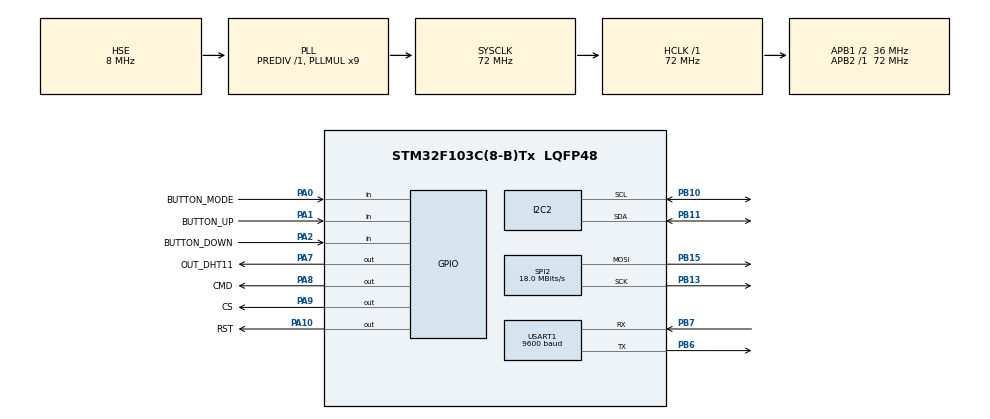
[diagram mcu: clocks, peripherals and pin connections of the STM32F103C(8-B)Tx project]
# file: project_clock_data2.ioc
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Mcu.Family=STM32F1
Mcu.Name=STM32F103C(8-B)Tx
Mcu.Package=LQFP48
NVIC.PriorityGroup=NVIC_PRIORITYGROUP_4
NVIC.USART1_IRQn=true\:0\:0\:false\:false\:true\:true\:true\:true
PA0-WKUP.GPIO_Label=BUTTON_MODE
PA0-WKUP.GPIO_PuPd=GPIO_PULLUP
PA0-WKUP.Signal=GPIO_Input
PA1.GPIO_Label=BUTTON_UP
PA1.GPIO_PuPd=GPIO_PULLUP
PA1.Signal=GPIO_Input
PA10.GPIO_Label=RST
PA10.Signal=GPIO_Output
PA13.Mode=Serial_Wire
PA13.Signal=SYS_JTMS-SWDIO
PA14.Mode=Serial_Wire
PA14.Signal=SYS_JTCK-SWCLK
PA2.GPIO_Label=BUTTON_DOWN
PA2.GPIO_PuPd=GPIO_PULLUP
PA2.Signal=GPIO_Input
PA7.GPIO_Label=OUT_DHT11
PA7.Signal=GPIO_Output
PA8.GPIO_Label=CMD
PA8.Signal=GPIO_Output
PA9.GPIO_Label=CS
PA9.Signal=GPIO_Output
PB10.Mode=I2C
PB10.Signal=I2C2_SCL
PB11.Mode=I2C
PB11.Signal=I2C2_SDA
PB13.Mode=TX_Only_Simplex_Unidirect_Master
PB13.Signal=SPI2_SCK
PB15.Mode=TX_Only_Simplex_Unidirect_Master
PB15.Signal=SPI2_MOSI
PB6.Mode=Asynchronous
PB6.Signal=USART1_TX
PB7.Mode=Asynchronous
PB7.Signal=USART1_RX
PD0-OSC_IN.Mode=HSE-External-Oscillator
PD0-OSC_IN.Signal=RCC_OSC_IN
PD1-OSC_OUT.Mode=HSE-External-Oscillator
PD1-OSC_OUT.Signal=RCC_OSC_OUT
ProjectManager.HeapSize=0x200
ProjectManager.StackSize=0x400
ProjectManager.TargetToolchain=STM32CubeIDE
RCC.AHBFreq_Value=72000000
RCC.APB1CLKDivider=RCC_HCLK_DIV2
RCC.APB1Freq_Value=36000000
RCC.APB1TimFreq_Value=72000000
RCC.APB2Freq_Value=72000000
RCC.APB2TimFreq_Value=72000000
RCC.HCLKFreq_Value=72000000
RCC.PLLMUL=RCC_PLL_MUL9
RCC.PLLSourceVirtual=RCC_PLLSOURCE_HSE
RCC.SYSCLKFreq_VALUE=72000000
RCC.SYSCLKSource=RCC_SYSCLKSOURCE_PLLCLK
RCC.USBFreq_Value=72000000
SPI2.CalculateBaudRate=18.0 MBits/s
SPI2.Direction=SPI_DIRECTION_2LINES
SPI2.Mode=SPI_MODE_MASTER
SPI2.VirtualType=VM_MASTER
USART1.BaudRate=9600
USART1.VirtualMode=VM_ASYNC
board=custom

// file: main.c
/* USER CODE BEGIN Header */
/**
  ******************************************************************************
  * @file           : main.c
  * @brief          : Main program body
  ******************************************************************************
  * @attention
  *
  * Copyright (c) 2023 STMicroelectronics.
  * All rights reserved.
  *
  * This software is licensed under terms that can be found in the LICENSE file
  * in the root directory of this software component.
  * If no LICENSE file comes with this software, it is provided AS-IS.
  *
  ******************************************************************************
  */
/* USER CODE END Header */
#include "main.h"

/* USER CODE BEGIN Includes */
#include "ILI9225.h"
#include "stdio.h"
#include <stdio.h>
#include "stdint.h"
#include <string.h>
#include "RTC.h"
#include "button.h"
#include "DHT.h"
/* USER CODE END Includes */

I2C_HandleTypeDef hi2c2;

SPI_HandleTypeDef hspi2;

UART_HandleTypeDef huart1;

/* USER CODE BEGIN PV */
uint8_t second_present, min_present, hour_present, date_present, month_present, year_present;
uint8_t second_temp, min_temp, hour_temp, date_temp, month_temp, year_temp;
uint8_t date_max;
char strtempmin[20];
char strtemphour[20];
char strtempdate[20];
char temperature_string[5];
char humidity_string[5];
float Temperature;
float Humidity;
char str1[20];
char str2[20];
int count;
//int i = 0;
//char Rx_data[4] = { 0 };
char data_string[6];
DHT_DataTypedef DHT11_Data;
uint8_t Rx_data = 0;
DateTime_t datetime;
uint8_t Rx_Buf = 0;
uint8_t uart_buffer[7];
uint8_t uart_pointer = 0;
uint8_t uart_flag = 0;
int isOK = 0;
int live_flag;
uint16_t ring_hour=0;
uint16_t ring_min=0;
/* USER CODE END PV */

void SystemClock_Config(void);
static void MX_GPIO_Init(void);
static void MX_SPI2_Init(void);
static void MX_I2C2_Init(void);
static void MX_USART1_UART_Init(void);

/* USER CODE BEGIN 0 */
void btn_adjust_up(void);
void btn_adjust_down(void);
void HAL_UART_RxCpltCallback(UART_HandleTypeDef *huart)
{
	if(huart->Instance == huart1.Instance)
	{
		if(Rx_Buf != '\n')
		{
			uart_buffer[uart_pointer] = Rx_Buf;
	//nếu byte nhận được bên trong bộ đệm không phải dấu xuống dòng thì byte trong Rx_Buf đó được lưu vào mảng uart_buffer tại vị trí con tr ? "uart_pointer"//
			uart_pointer++;//tăng lên 1 để tr ? đến vị trí kế tiếp trong bộ đệm. HAHA ta khai báo cái mảng này lưu được tối đa tới 800 bits  nên vô tư ;))) //
		}
		else
		{
			uart_buffer[uart_pointer] = '\0'; //nếu byte nhận được trong
	//bộ đệm là dấu xuống dòng thì lưu giá trị rỗng vào mảng uart_buffer tại vị trí con tr ? uart_pointer.//
			uart_flag = 1;// biểu thị rằng 1 cái dòng data hoàn chỉnh đã được nhận từ thiết bị ngoại vi qua giao tiếp UART.
		}
		if(live_flag == 1)
		{
			uint8_t timer_out = HAL_GetTick();
			if(HAL_GetTick - timer_out > 3500)
			{
			snprintf(data_string, 7, "*%02g%02g#", Temperature, Humidity);
			HAL_UART_Transmit(&huart1, (uint8_t*)data_string, 7, 200);
			timer_out = HAL_GetTick();
			}
		}
	HAL_UART_Receive_IT(&huart1, &Rx_Buf, 1);//(trong vòng if), nhận data bằng ngắt rồi lưu vào huart1 tại bộ nhớ đệm chỉ duy nhất 1 bit=> rồi lại g ?i hàm call back nghĩa là lại nhảy vô if thêm lần nữa//
	}
}
void UART_Handle()
{
//	for(int j = 1; j <=6; j++){
//		if(uart_buffer[j] == '*')
//		{
//			for(int i = 0; i<=6; i++)
//			{
//				uart_buffer[i] = '\0';
//				uart_pointer = 0;
//			}
//		}
//	}
	if(uart_flag == 1)
	{ //nếu gặp /n thì nhảy sang cắt chuỗi
	//cut string//
		char *arg_list[10];//mảng có 10 ô, mỗi ô chứa tối đa 8 bits
		uint8_t arg_num = 0; // số thứ n trong mảng
		char *temp_token = strtok((char *)uart_buffer, " "); //Chỉ gán char trừ khoảng trắng cho con tr ? temp_token//
		while(temp_token != NULL)
		{ //vòng lặp chạy mãi cho tới khi token tạm th ?i = null
			arg_list[arg_num] = temp_token; //byte của temp_token sẽ được lưu vào mảng arg_list tại arg_num//
			arg_num++; //để bảo đảm là mỗi token đã được qua thực thi rồi
			temp_token = strtok(NULL, " ");
		}
// Handle
		// Chuỗi được truy�?n từ ESP32 có định dạng: "* xxxxx\n" //////
		if(strstr(arg_list[0], "*") != NULL)
		{
			for(int j = 1; j <=6; j++){
				if(uart_buffer[j] == '*')
				{
					for(int i = 0; i<=6; i++)
					{
						uart_buffer[i] = '\0';
						uart_pointer = 0;
					}
				}
			}
			if(strstr(arg_list[1], "live") != NULL)
			{
				live_flag = 1;
				isOK = 1;
				for(int i = 0; i<=6; i++)
				{
					uart_buffer[i] = '\0';
					uart_pointer = 0;
				}
//				uart_flag = 0;
			}
			else if(strstr(arg_list[1], "unli") != NULL)
			{
				live_flag = 0;
				isOK = 2;
				for(int i = 0; i<=6; i++)
				{
					uart_buffer[i] = '\0';
					uart_pointer = 0;
				}
				uart_flag = 0;
			}
			else if(strstr(arg_list[1], "LEDOF") != NULL)
			{
//				HAL_GPIO_WritePin(GPIOC, GPIO_PIN_13, 0);

//				for(int i = 0; i<=6; i++)
//				{
//					uart_buffer[i] = '\0';
//					uart_pointer = 0;
//				}
				uart_flag = 0;
				isOK = 3;
			}
//			else{
//			for(i = 0; i<=6; i++)
//			{
//
//				uart_buffer[i] = '\0';
//				uart_pointer = 0;
//			}
//			isOK = 99;
//			uart_flag = 0;
//			i = 0;
//			}
		}
		else if(strstr(arg_list[0], "^") != NULL)
		{
	    	for(int i = 4; i<=6; i++)
		    {
				uart_buffer[i] = '\0';
				uart_pointer = 0;
		    }
	    	for(int i = 1; i <= 6; i++)
	    	{
	    		if(uart_buffer[i] == '^')
	    		{
	    			count++;
	    		}
	    	}
	    	if(count == 0)
	    	{
	    		if(uart_buffer[3] == '\0')
	    		{
	    			uart_buffer[3] = uart_buffer[2];
	    			uart_buffer[2] = '0';
	    		}
				ring_hour = uart_buffer[2] * 10 + uart_buffer[3];
				ring_hour -= 528;
	    	}

//	    	if(uart_buffer[2] != '^' & uart_buffer[2] == 0)
//
//	    	for(int i = 1; i<= 6; i++){
//	    		if(uart_buffer[i] == '^')
//	    		{
//					ring_hour = (uart_buffer[2] * 10) + uart_buffer[3];
//	    		}
//	    	}

	    	for(int i = 0; i<=6; i++)
		    {
				uart_buffer[i] = '\0';
				uart_pointer = 0;
		    }
	    	count = 0;
	    	uart_flag = 0;
		}
		else if(strstr(arg_list[0], "#") != NULL)
		{
	    	for(int i = 4; i<=6; i++)
		    {
				uart_buffer[i] = '\0';
				uart_pointer = 0;
		    }
	    	for(int i = 1; i <= 6; i++)
	    	{
	    		if(uart_buffer[i] == '^')
	    		{
	    			count++;
	    		}
	    	}
	    	if(count == 0)
	    	{
	    		if(uart_buffer[3] == '\0')
	    		{
	    			uart_buffer[3] = uart_buffer[2];
	    			uart_buffer[2] = '0';
	    		}
				ring_min = uart_buffer[2] * 10 + uart_buffer[3];
				ring_min -= 528;
	    	}

	    	for(int i = 0; i<=6; i++)
		    {
				uart_buffer[i] = '\0';
				uart_pointer = 0;
		    }
	    	count = 0;
	    	uart_flag = 0;
		}
		else
		{
	    	for(int i = 0; i<=6; i++)
		    {
				uart_buffer[i] = '\0';
				uart_pointer = 0;
		    }
	    	 uart_pointer = 0;
			uart_flag = 0;
			isOK = 3;
	    }
	}
}

void Read_DataDHT(void)
{
	DHT_GetData(&DHT11_Data);
	Temperature = DHT11_Data.Temperature;
	Humidity = DHT11_Data.Humidity;
}
Button_TypeDef buttonmode;
Button_TypeDef buttonup;
Button_TypeDef buttondown;
Button_TypeDef *ButtonX;

typedef enum
{
	BINHTHUONG = 0,
	CHINHPHUT = 1,
	CHINHGIO = 2,
	CHINHNGAY = 3,
}Mode;

Mode mode; // khai báo là biến "mode" có kiểu dữ liệu "Mode"

//////////////////////////////////////////////////////////////CHƯƠNG TRÌNH PHỤC VỤ NGẮT//////////////////////////////////////////////////////////////
void btn_pressing_callback(GPIO_TypeDef *GPIOx, uint16_t GPIO_Pin)
{
	if ((GPIOx == GPIOA) && (GPIO_Pin == GPIO_PIN_0))
	{
		switch (mode)
		{
		case BINHTHUONG: // mode = 0
			datetime.date = date_temp; //gán th ?i gian vừa cài đặt xong cho biến official (biến mà RTC sẽ tự động cập nhật)
			mode = CHINHPHUT;  // gán mode 0 thành 1
			fill_rectangle(110, 200, 230, 210, COLOR_WHITE);//toa do cua phut
			draw_string(110, 200, COLOR_GREEN, 1, strtempmin);//toa do cua phut
			break; // đang ở case BINHTHUONG thì chương trình sẽ gán cho biến mode (dòng 8	4), sau đó break ra kh ?i switch, rồi khi này chương trình sẽ không thực hiện lệnh gì trong khi đợi đi ?u kiện của 1 trong 3 cái if ở ngắt là đúng;
		// Vậy lúc này, nếu bấm button_mode một lần nữa thì chương trình sẽ xét switch rồi nhảy vô case CHINHGIO vì biến "mode" đã được gán = 2 ở dòng 88; Else nhấn button_up một lần thì chương trình
		// sẽ nhảy vào chạy hàm btn_adjust(up) hoặc nếu nhấn button_down thì chương trình sẽ nhảy vào chạy hàm btn_adjust(down).
		case CHINHPHUT: // mode = 1
//			datetime.min = min_temp; //Dat chinh
			min_temp = datetime.min;
			mode = CHINHGIO; // gán mode = 2
			fill_rectangle(110, 200, 230, 210, COLOR_WHITE);//toa do cua gio
			draw_string(110, 200, COLOR_GREEN, 1, strtemphour);//toa do cua gio
			break;
		case CHINHGIO: // mode = 2
			datetime.min = min_temp;
			hour_temp = datetime.hour;
//			datetime.hour = hour_temp; //Dat chinh
//			datetime.min = min_temp; //gán th ?i gian vừa cài đặt xong cho biến official (biến mà RTC sẽ tự động cập nhật)
			mode = CHINHNGAY; // gán mode = 3
			fill_rectangle(85, 215, 205, 235, COLOR_WHITE);
			draw_string(40, 220, COLOR_BLACK, 1, str2);
			break;
		case CHINHNGAY:      // mode = 3
//			datetime.date = date_temp; //Dat chinh
			datetime.hour = hour_temp; //gán th ?i gian vừa cài đặt xong cho biến official (biến mà RTC sẽ tự động cập nhật)
			date_temp = datetime.date;
			mode = BINHTHUONG; // gán mode = 0
			break;
		}
	}
  ////////////////BUTTON_UP///////////////
	if ((GPIOx == GPIOA) && (GPIO_Pin == GPIO_PIN_1))
	{
		btn_adjust_up();
	}

  ///////////////BUTTON_DOWN////////////
	if ((GPIOx == GPIOA) && (GPIO_Pin == GPIO_PIN_2))
	{
	    btn_adjust_down();
	}
}

//                    Tạo hàm sẽ chạy khi nhấn button_up
void btn_adjust_up (void)
{
	switch(mode)
	{
     	case CHINHPHUT:
			// viet code de cong 1 phut va khi den 60 thi quay lai
				min_temp ++;
				if (min_temp == 60)
				{
					min_temp = 0;
				}
//				draw_string(40, 200, COLOR_BLACK, 2, str1);
			  sprintf(strtempmin, "%.2d", datetime.min);
			fill_rectangle(110, 200, 230, 210, COLOR_WHITE);//toa do cua phut
			draw_string(40, 200, COLOR_GREEN, 1, strtempmin);//toa do cua phut
			break;
		case CHINHGIO:
			// viet code de cong 1 gio va khi den 60 thi quay lai
				hour_temp ++;
				if (hour_temp == 24)
				{
					hour_temp = 0;
				}
				fill_rectangle(110, 200, 230, 210, COLOR_WHITE);//toa do cua gio
				draw_string(40, 200, COLOR_GREEN, 1, strtemphour);//toa do cua gio
			 break;
		case CHINHNGAY:
			// viet code de cong 1 ngay va biet duoc so ngay trong thang de quay lai
			date_temp ++;
					switch (datetime.month)   // xét xem tháng hiện tại có tổng bao nhiêu ngày
					{
						case 1:
						case 3:
						case 5:
						case 7:
						case 8:
						case 10:
						case 12:
							date_max = 31 + 1;
							break;
						case 4:
						case 6:
						case 9:
						case 11:
							date_max = 30 + 1;
						case 2:
							if ((datetime.year - 2014) % 4 == 0)
							{
								date_max = 29 + 1;
							}
							else
							{
								date_max = 28 + 1;
							}
							break;
						default:
							break;
					}
					if (date_temp == date_max)
					{
						date_temp = 1;
					}
			fill_rectangle(85, 215, 205, 235, COLOR_WHITE);
//					draw_string(40, 220, COLOR_BLACK, 2, str2); // in cả string 2 (nhưng chỉ có thông số date thay đổi).
			draw_string(40, 220, COLOR_BLACK, 1, str2); // in cả string 2 (nhưng chỉ có thông số date thay đổi).
//			date_temp ++;
			break;
	}
}
//                       Tạo hàm sẽ chạy khi nhấn button_down
void btn_adjust_down(void)
{
	switch(mode)
	{
//		case BINHTHUONG:
//			break;
		case CHINHPHUT:
			// viet code de tru 1 phut va khi den 0 thi quay lai
					min_temp --;
					if (min_temp == -1)
					{
						min_temp = 59;
					}
//					draw_string(40, 200, COLOR_BLACK, 2, str1);
			fill_rectangle(110, 200, 230, 210, COLOR_WHITE);//toa do cua phut
			draw_string(40, 200, COLOR_BLACK, 1, str1);//toa do cua phut
//			min_temp --;
			break;
		case CHINHGIO:
			// viet code de tru 1 gio va khi den 0 thi quay lai
					hour_temp --;
					if (hour_temp == -1)
					{
						hour_temp = 23;
					}
//					draw_string(40, 200, COLOR_BLACK, 2, str1);
			fill_rectangle(110, 200, 230, 210, COLOR_WHITE);//toa do cua gio
			draw_string(40, 200, COLOR_BLACK, 1, str1);//toa do cua gio
//			hour_temp --;
//			fill_rectangle(110, 200, 230, 210, COLOR_WHITE);
			break;
		case CHINHNGAY:
			// viet code de tru 1 ngay va biet duoc so ngay trong thang de quay lai
					date_temp --;
					switch (datetime.month)   // xét xem tháng hiện tại có tổng bao nhiêu ngày
					{
						case 1:
						case 3:
						case 5:
						case 7:
						case 8:
						case 10:
						case 12:
							date_max = 31 + 1;
							break;
						case 4:
						case 6:
						case 9:
						case 11:
							date_max = 30 + 1;
						case 2:
							if ((datetime.year - 2014) % 4 == 0) // nếu năm hiện tại là năm nhuận thì số tổng số ngày của tháng 2 ở năm hiện tại là 29, còn không thì là 28.
							{
								date_max = 29 + 1;
							}
							else
							{
								date_max = 28 + 1;
							}
							break;
						default:
							break;
					}
					if (date_temp == 0)
					{
						date_temp = date_max - 1;
					}
//					draw_string(40, 220, COLOR_BLACK, 2, str2); // in cả string 2 (nhưng chỉ có thông số date thay đổi).
			fill_rectangle(85, 215, 205, 235, COLOR_WHITE);
			draw_string(40, 220, COLOR_BLACK, 1, str2);  // in cả string 2 (nhưng chỉ có thông số date thay đổi).
//			date_temp --;
			break;
	}
}

/* USER CODE END 0 */

int main(void)
{

  /* MCU Configuration--------------------------------------------------------*/

  /* Reset of all peripherals, Initializes the Flash interface and the Systick. */
  HAL_Init();

  /* Configure the system clock */
  SystemClock_Config();

  /* Initialize all configured peripherals */
  MX_GPIO_Init();
  MX_SPI2_Init();
  MX_I2C2_Init();
  MX_USART1_UART_Init();
  /* USER CODE BEGIN 2 */
    mode = 0; // Cho chương trình chạy ở MODE 0 trước tiên khi mới bắt đầu.
    DHT_Start();
    HAL_UART_Receive_IT(&huart1, &Rx_Buf, 1); // Nhận Data
	button_init(&buttonmode, GPIOA, GPIO_PIN_0);
	button_init(&buttonup, GPIOA, GPIO_PIN_1);
	button_init(&buttondown, GPIOA, GPIO_PIN_2);
	lcd_init();
	fill_rectangle(0, 0, WIDTH, HEIGHT, COLOR_WHITE);
	draw_string(0, 50, COLOR_GREENYELLOW, 5, "HELLO");
	HAL_Delay(2500);
	fill_rectangle(0, 0, WIDTH, HEIGHT, COLOR_WHITE);

    // Cài đặt th ?i gian ban đầu
	datetime.second = 15;
	datetime.min = 44;
	datetime.hour = 12;
	datetime.day = 8;
	datetime.date = 58;
	datetime.month = 12;
	datetime.year = 23;
	RTC_WriteTime(&datetime);

	draw_string(20, 50, COLOR_GOLD, 5, "QMDP");
	HAL_Delay(2500);
//  fill_rectangle(0, 0, 276, 220, COLOR_WHITE);
	fill_rectangle(0, 0, WIDTH, HEIGHT, COLOR_WHITE);

  /* USER CODE END 2 */

  /* Infinite loop */
  while (1)
  {

    /* USER CODE BEGIN 3 */
	  button_handle(&buttonmode);
	  button_handle(&buttonup);
	  button_handle(&buttondown);
////// Hàm xử lí UART //////
	  UART_Handle();
////////////////////////////
	  datetime.min = min_temp;

	  RTC_ReadTime(&datetime); //Lệnh đ ?c th ?i gian từ RTC (biến khác không có trong main.c)
	  second_temp = datetime.second;
	  min_temp = datetime.min;
	  hour_temp = datetime.hour;
	  date_temp = datetime.date;
	  month_temp = datetime.month;
	  year_temp = datetime.year;
	  sprintf(str1, "Time %.2d:%.2d:%.2d", datetime.hour, datetime.min, datetime.second);

	  if(second_temp != second_present)
	  {
		  fill_rectangle(140, 100, 160, 110, COLOR_WHITE);
		  second_present = second_temp;
	  }
	  draw_string(40, 100, COLOR_BLACK, 1, str1);

	  if(min_temp != min_present)
	  	  {
	  		  fill_rectangle(110, 100, 130, 110, COLOR_WHITE);
	  		  min_present = min_temp;
	  	  }
	  draw_string(40, 100, COLOR_BLACK, 1, str1);

	  if(hour_temp != hour_present)
	 	  	  {
	 	  		  fill_rectangle(85, 100, 105, 110, COLOR_WHITE);
	 	  		  hour_present = hour_temp;
	 	  	  }
	  draw_string(40, 100, COLOR_BLACK, 1, str1);

	  sprintf(str2,"Date %.2d/%.2d/%.2d",datetime.date,datetime.month,datetime.year );
// để sprintf ở đây cho nó chính xác, date, month, year lâu lắm
	  //để sprintf ở đây để convert, lệnh in lên LCD nằm trong thư viện của LCD
	  if(date_temp != date_present)
	  	 	  	  {
	  	 	  		  fill_rectangle(85, 115, 105, 135, COLOR_WHITE);
	  	 	  		  date_present = date_temp;
	  	 	  	  }
	  	  draw_string(40, 120, COLOR_BLACK, 1, str2);

	  	if(month_temp != month_present)
	  		 	  	  {
	  		 	  		  fill_rectangle(110, 115, 130, 135, COLOR_WHITE);
	  		 	  		  month_present = month_temp;
	  		 	  	  }
	  		  draw_string(40, 120, COLOR_BLACK, 1, str2);

	  		if(year_temp != year_present)
	  			 	  	  {
	  			 	  		  fill_rectangle(135, 115, 160, 135, COLOR_WHITE);
	  			 	  		  year_present = year_temp;
	  			 	  	  }
	  			  draw_string(40, 120, COLOR_BLACK, 1, str2);
       fill_rectangle(150, 20, 220, 50, COLOR_WHITE);
       Read_DataDHT();

/////////////////////////////////////////////////////////////
	   snprintf(temperature_string, 2, "%f", Temperature);
	   snprintf(humidity_string, 2, "%f", Humidity);
//      draw_string(150, 20, COLOR_BLUE, 1, temperature_string);
//	  draw_string(150, 40, COLOR_BLUE, 1, humidity_string);

//	   snprintf(data_string, 7, "*%02g%02g#", Temperature, Humidity);
//	   HAL_UART_Transmit(&huart1, (uint8_t*)data_string, 7, 200);
	   ////////////////////////////////////////////////////
	   HAL_Delay(1000);
  /* USER CODE END 3 */
 }
}

void SystemClock_Config(void)
{
  RCC_OscInitTypeDef RCC_OscInitStruct = {0};
  RCC_ClkInitTypeDef RCC_ClkInitStruct = {0};

  /** Initializes the RCC Oscillators according to the specified parameters
  * in the RCC_OscInitTypeDef structure.
  */
  RCC_OscInitStruct.OscillatorType = RCC_OSCILLATORTYPE_HSE;
  RCC_OscInitStruct.HSEState = RCC_HSE_ON;
  RCC_OscInitStruct.HSEPredivValue = RCC_HSE_PREDIV_DIV1;
  RCC_OscInitStruct.HSIState = RCC_HSI_ON;
  RCC_OscInitStruct.PLL.PLLState = RCC_PLL_ON;
  RCC_OscInitStruct.PLL.PLLSource = RCC_PLLSOURCE_HSE;
  RCC_OscInitStruct.PLL.PLLMUL = RCC_PLL_MUL9;
  if (HAL_RCC_OscConfig(&RCC_OscInitStruct) != HAL_OK)
  {
    Error_Handler();
  }

  /** Initializes the CPU, AHB and APB buses clocks
  */
  RCC_ClkInitStruct.ClockType = RCC_CLOCKTYPE_HCLK|RCC_CLOCKTYPE_SYSCLK
                              |RCC_CLOCKTYPE_PCLK1|RCC_CLOCKTYPE_PCLK2;
  RCC_ClkInitStruct.SYSCLKSource = RCC_SYSCLKSOURCE_PLLCLK;
  RCC_ClkInitStruct.AHBCLKDivider = RCC_SYSCLK_DIV1;
  RCC_ClkInitStruct.APB1CLKDivider = RCC_HCLK_DIV2;
  RCC_ClkInitStruct.APB2CLKDivider = RCC_HCLK_DIV1;

  if (HAL_RCC_ClockConfig(&RCC_ClkInitStruct, FLASH_LATENCY_2) != HAL_OK)
  {
    Error_Handler();
  }
}

static void MX_I2C2_Init(void)
{

  hi2c2.Instance = I2C2;
  hi2c2.Init.ClockSpeed = 100000;
  hi2c2.Init.DutyCycle = I2C_DUTYCYCLE_2;
  hi2c2.Init.OwnAddress1 = 0;
  hi2c2.Init.AddressingMode = I2C_ADDRESSINGMODE_7BIT;
  hi2c2.Init.DualAddressMode = I2C_DUALADDRESS_DISABLE;
  hi2c2.Init.OwnAddress2 = 0;
  hi2c2.Init.GeneralCallMode = I2C_GENERALCALL_DISABLE;
  hi2c2.Init.NoStretchMode = I2C_NOSTRETCH_DISABLE;
  if (HAL_I2C_Init(&hi2c2) != HAL_OK)
  {
    Error_Handler();
  }

}

static void MX_SPI2_Init(void)
{

  /* SPI2 parameter configuration*/
  hspi2.Instance = SPI2;
  hspi2.Init.Mode = SPI_MODE_MASTER;
  hspi2.Init.Direction = SPI_DIRECTION_2LINES;
  hspi2.Init.DataSize = SPI_DATASIZE_8BIT;
  hspi2.Init.CLKPolarity = SPI_POLARITY_LOW;
  hspi2.Init.CLKPhase = SPI_PHASE_1EDGE;
  hspi2.Init.NSS = SPI_NSS_SOFT;
  hspi2.Init.BaudRatePrescaler = SPI_BAUDRATEPRESCALER_2;
  hspi2.Init.FirstBit = SPI_FIRSTBIT_MSB;
  hspi2.Init.TIMode = SPI_TIMODE_DISABLE;
  hspi2.Init.CRCCalculation = SPI_CRCCALCULATION_DISABLE;
  hspi2.Init.CRCPolynomial = 10;
  if (HAL_SPI_Init(&hspi2) != HAL_OK)
  {
    Error_Handler();
  }

}

static void MX_USART1_UART_Init(void)
{

  huart1.Instance = USART1;
  huart1.Init.BaudRate = 9600;
  huart1.Init.WordLength = UART_WORDLENGTH_8B;
  huart1.Init.StopBits = UART_STOPBITS_1;
  huart1.Init.Parity = UART_PARITY_NONE;
  huart1.Init.Mode = UART_MODE_TX_RX;
  huart1.Init.HwFlowCtl = UART_HWCONTROL_NONE;
  huart1.Init.OverSampling = UART_OVERSAMPLING_16;
  if (HAL_UART_Init(&huart1) != HAL_OK)
  {
    Error_Handler();
  }

}

static void MX_GPIO_Init(void)
{
  GPIO_InitTypeDef GPIO_InitStruct = {0};

  /* GPIO Ports Clock Enable */
  __HAL_RCC_GPIOD_CLK_ENABLE();
  __HAL_RCC_GPIOA_CLK_ENABLE();
  __HAL_RCC_GPIOB_CLK_ENABLE();

  /*Configure GPIO pin Output Level */
  HAL_GPIO_WritePin(GPIOA, OUT_DHT11_Pin|CMD_Pin|CS_Pin|RST_Pin, GPIO_PIN_RESET);

  /*Configure GPIO pins : BUTTON_MODE_Pin BUTTON_UP_Pin BUTTON_DOWN_Pin */
  GPIO_InitStruct.Pin = BUTTON_MODE_Pin|BUTTON_UP_Pin|BUTTON_DOWN_Pin;
  GPIO_InitStruct.Mode = GPIO_MODE_INPUT;
  GPIO_InitStruct.Pull = GPIO_PULLUP;
  HAL_GPIO_Init(GPIOA, &GPIO_InitStruct);

  /*Configure GPIO pins : OUT_DHT11_Pin CMD_Pin CS_Pin RST_Pin */
  GPIO_InitStruct.Pin = OUT_DHT11_Pin|CMD_Pin|CS_Pin|RST_Pin;
  GPIO_InitStruct.Mode = GPIO_MODE_OUTPUT_PP;
  GPIO_InitStruct.Pull = GPIO_NOPULL;
  GPIO_InitStruct.Speed = GPIO_SPEED_FREQ_LOW;
  HAL_GPIO_Init(GPIOA, &GPIO_InitStruct);

}

void Error_Handler(void)
{
  __disable_irq();
  while (1)
  {
  }
}
